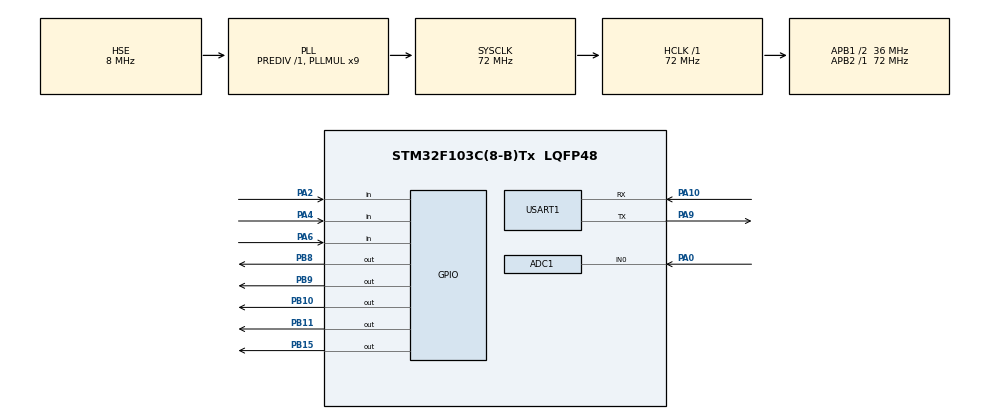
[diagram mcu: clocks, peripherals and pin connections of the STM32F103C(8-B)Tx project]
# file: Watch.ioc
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ADC1.Channel-0\#ChannelRegularConversion=ADC_CHANNEL_0
ADC1.NbrOfConversionFlag=1
ADC1.Rank-0\#ChannelRegularConversion=1
ADC1.SamplingTime-0\#ChannelRegularConversion=ADC_SAMPLETIME_1CYCLE_5
ADC1.master=1
FREERTOS.Tasks01=defaultTask,24,128,StartDefaultTask,Default,NULL,Dynamic,NULL,NULL
Mcu.Family=STM32F1
Mcu.Name=STM32F103C(8-B)Tx
Mcu.Package=LQFP48
NVIC.PriorityGroup=NVIC_PRIORITYGROUP_4
NVIC.TIM2_IRQn=true\:5\:0\:false\:false\:true\:true\:true\:true\:true
NVIC.TIM3_IRQn=true\:5\:0\:false\:false\:true\:true\:true\:true\:true
NVIC.TIM4_IRQn=true\:15\:0\:false\:false\:true\:false\:false\:true\:true
NVIC.TimeBase=TIM4_IRQn
NVIC.TimeBaseIP=TIM4
PA0-WKUP.Signal=ADCx_IN0
PA10.Mode=Asynchronous
PA10.Signal=USART1_RX
PA13.Mode=Serial_Wire
PA13.Signal=SYS_JTMS-SWDIO
PA14.Mode=Serial_Wire
PA14.Signal=SYS_JTCK-SWCLK
PA2.GPIO_PuPd=GPIO_PULLUP
PA2.Signal=GPIO_Input
PA4.GPIO_PuPd=GPIO_PULLUP
PA4.Signal=GPIO_Input
PA6.GPIO_PuPd=GPIO_PULLUP
PA6.Signal=GPIO_Input
PA9.Mode=Asynchronous
PA9.Signal=USART1_TX
PB10.GPIO_ModeDefaultOutputPP=GPIO_MODE_OUTPUT_OD
PB10.GPIO_PuPd=GPIO_NOPULL
PB10.Signal=GPIO_Output
PB11.GPIO_ModeDefaultOutputPP=GPIO_MODE_OUTPUT_OD
PB11.GPIO_PuPd=GPIO_NOPULL
PB11.Signal=GPIO_Output
PB15.GPIO_ModeDefaultOutputPP=GPIO_MODE_OUTPUT_PP
PB15.GPIO_Speed=GPIO_SPEED_FREQ_LOW
PB15.PinState=GPIO_PIN_SET
PB15.Signal=GPIO_Output
PB8.GPIO_ModeDefaultOutputPP=GPIO_MODE_OUTPUT_OD
PB8.GPIO_PuPd=GPIO_NOPULL
PB8.Signal=GPIO_Output
PB9.GPIO_ModeDefaultOutputPP=GPIO_MODE_OUTPUT_OD
PB9.GPIO_PuPd=GPIO_NOPULL
PB9.Signal=GPIO_Output
PD0-OSC_IN.Mode=HSE-External-Oscillator
PD0-OSC_IN.Signal=RCC_OSC_IN
PD1-OSC_OUT.Mode=HSE-External-Oscillator
PD1-OSC_OUT.Signal=RCC_OSC_OUT
ProjectManager.HeapSize=0x200
ProjectManager.StackSize=0x400
ProjectManager.TargetToolchain=MDK-ARM V5.32
RCC.ADCPresc=RCC_ADCPCLK2_DIV6
RCC.AHBFreq_Value=72000000
RCC.APB1CLKDivider=RCC_HCLK_DIV2
RCC.APB1Freq_Value=36000000
RCC.APB1TimFreq_Value=72000000
RCC.APB2Freq_Value=72000000
RCC.APB2TimFreq_Value=72000000
RCC.HCLKFreq_Value=72000000
RCC.PLLMUL=RCC_PLL_MUL9
RCC.PLLSourceVirtual=RCC_PLLSOURCE_HSE
RCC.RTCClockSelection=RCC_RTCCLKSOURCE_HSE_DIV128
RCC.SYSCLKFreq_VALUE=72000000
RCC.SYSCLKSource=RCC_SYSCLKSOURCE_PLLCLK
RCC.USBFreq_Value=72000000
SH.ADCx_IN0.0=ADC1_IN0,IN0
TIM2.Period=719
TIM2.Prescaler=99
TIM3.Period=9999
TIM3.Prescaler=7199
USART1.VirtualMode=VM_ASYNC
VP_FREERTOS_VS_CMSIS_V2.Mode=CMSIS_V2
VP_RTC_VS_RTC_Activate.Mode=RTC_Enabled
VP_RTC_VS_RTC_Calendar.Mode=RTC_Calendar
VP_SYS_VS_tim4.Mode=TIM4
VP_TIM2_VS_ClockSourceINT.Mode=Internal
VP_TIM3_VS_ClockSourceINT.Mode=Internal
board=custom

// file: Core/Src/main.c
/* USER CODE BEGIN Header */
/**
  ******************************************************************************
  * @file           : main.c
  * @brief          : Main program body
  ******************************************************************************
  * @attention
  *
  * Copyright (c) 2026 STMicroelectronics.
  * All rights reserved.
  *
  * This software is licensed under terms that can be found in the LICENSE file
  * in the root directory of this software component.
  * If no LICENSE file comes with this software, it is provided AS-IS.
  *
  ******************************************************************************
  */
/* USER CODE END Header */
#include "main.h"
#include "cmsis_os.h"
#include "adc.h"
#include "rtc.h"
#include "tim.h"
#include "usart.h"
#include "gpio.h"

/* USER CODE BEGIN Includes */
#include "Key.h"
#include "Dino.h"
/* USER CODE END Includes */

void SystemClock_Config(void);
void MX_FREERTOS_Init(void);

int main(void)
{

  /* MCU Configuration--------------------------------------------------------*/

  /* Reset of all peripherals, Initializes the Flash interface and the Systick. */
  HAL_Init();

  /* Configure the system clock */
  SystemClock_Config();

  /* Initialize all configured peripherals */
  MX_GPIO_Init();
  MX_ADC1_Init();
  MX_RTC_Init();
  MX_TIM2_Init();
  MX_TIM3_Init();
  MX_USART1_UART_Init();
  /* USER CODE BEGIN 2 */
  HAL_TIM_Base_Start_IT(&htim2);
  /* USER CODE END 2 */

  /* Init scheduler */
  osKernelInitialize();

  /* Call init function for freertos objects (in cmsis_os2.c) */
  MX_FREERTOS_Init();

  /* Start scheduler */
  osKernelStart();

  /* We should never get here as control is now taken by the scheduler */

  /* Infinite loop */
  while (1)
  {

  }
}

void SystemClock_Config(void)
{
  RCC_OscInitTypeDef RCC_OscInitStruct = {0};
  RCC_ClkInitTypeDef RCC_ClkInitStruct = {0};
  RCC_PeriphCLKInitTypeDef PeriphClkInit = {0};

  /** Initializes the RCC Oscillators according to the specified parameters
  * in the RCC_OscInitTypeDef structure.
  */
  RCC_OscInitStruct.OscillatorType = RCC_OSCILLATORTYPE_HSE;
  RCC_OscInitStruct.HSEState = RCC_HSE_ON;
  RCC_OscInitStruct.HSEPredivValue = RCC_HSE_PREDIV_DIV1;
  RCC_OscInitStruct.HSIState = RCC_HSI_ON;
  RCC_OscInitStruct.PLL.PLLState = RCC_PLL_ON;
  RCC_OscInitStruct.PLL.PLLSource = RCC_PLLSOURCE_HSE;
  RCC_OscInitStruct.PLL.PLLMUL = RCC_PLL_MUL9;
  if (HAL_RCC_OscConfig(&RCC_OscInitStruct) != HAL_OK)
  {
    Error_Handler();
  }

  /** Initializes the CPU, AHB and APB buses clocks
  */
  RCC_ClkInitStruct.ClockType = RCC_CLOCKTYPE_HCLK|RCC_CLOCKTYPE_SYSCLK
                              |RCC_CLOCKTYPE_PCLK1|RCC_CLOCKTYPE_PCLK2;
  RCC_ClkInitStruct.SYSCLKSource = RCC_SYSCLKSOURCE_PLLCLK;
  RCC_ClkInitStruct.AHBCLKDivider = RCC_SYSCLK_DIV1;
  RCC_ClkInitStruct.APB1CLKDivider = RCC_HCLK_DIV2;
  RCC_ClkInitStruct.APB2CLKDivider = RCC_HCLK_DIV1;

  if (HAL_RCC_ClockConfig(&RCC_ClkInitStruct, FLASH_LATENCY_2) != HAL_OK)
  {
    Error_Handler();
  }
  PeriphClkInit.PeriphClockSelection = RCC_PERIPHCLK_RTC|RCC_PERIPHCLK_ADC;
  PeriphClkInit.RTCClockSelection = RCC_RTCCLKSOURCE_HSE_DIV128;
  PeriphClkInit.AdcClockSelection = RCC_ADCPCLK2_DIV6;
  if (HAL_RCCEx_PeriphCLKConfig(&PeriphClkInit) != HAL_OK)
  {
    Error_Handler();
  }
}

void HAL_TIM_PeriodElapsedCallback(TIM_HandleTypeDef *htim)
{
  if (htim->Instance == TIM4) {
    HAL_IncTick();
  }
  /* USER CODE BEGIN Callback 1 */
  if (htim->Instance == TIM2)
  {
    Key3_Tick();   // 先更新 Key3 按住时间
    Key_Tick();    // 再每 20ms 采样一次
    Dino_Tick();   // 小恐龙游戏：1ms 时间基准
  }
  /* USER CODE END Callback 1 */
}

void Error_Handler(void)
{
  __disable_irq();
  while (1)
  {
  }
}

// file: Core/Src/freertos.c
/* USER CODE BEGIN Header */
/**
  ******************************************************************************
  * File Name          : freertos.c
  * Description        : Code for freertos applications
  ******************************************************************************
  * @attention
  *
  * Copyright (c) 2026 STMicroelectronics.
  * All rights reserved.
  *
  * This software is licensed under terms that can be found in the LICENSE file
  * in the root directory of this software component.
  * If no LICENSE file comes with this software, it is provided AS-IS.
  *
  ******************************************************************************
  */
/* USER CODE END Header */

#include "FreeRTOS.h"
#include "task.h"
#include "main.h"
#include "cmsis_os.h"

/* USER CODE BEGIN Includes */
#include "usart.h"
#include "OLED.h"
#include "Key.h"
#include "rtc.h"
#include "MyI2C.h"
#include "MPU6050.h"
#include <stdio.h>
#include <string.h>
#include <math.h>
#include "Dino.h"
#include "MenuIcon.h"

/* USER CODE END Includes */

/* USER CODE BEGIN Variables */
osThreadId_t menuTaskHandle;
const osThreadAttr_t menuTask_attributes = {
  .name = "menuTask",
  .stack_size = 128 * 4,          // 512 字节
  .priority = (osPriority_t) osPriorityNormal,
};

osThreadId_t stopWatchTaskHandle;
const osThreadAttr_t stopWatchTask_attributes = {
  .name = "stopWatchTask",
  .stack_size = 128 * 4,
  .priority = (osPriority_t) osPriorityNormal,
};

osThreadId_t mpuTaskHandle;
const osThreadAttr_t mpuTask_attributes = {
  .name = "mpuTask",
  .stack_size = 256 * 4,          // 1024 字节：浮点运算 + OLED 调用更深
  .priority = (osPriority_t) osPriorityNormal,
};

osThreadId_t gradienterTaskHandle;
const osThreadAttr_t gradienterTask_attributes = {
  .name = "gradienterTask",
  .stack_size = 256 * 4,          // 1024 字节
  .priority = (osPriority_t) osPriorityNormal,
};

/* USER CODE END Variables */
/* Definitions for defaultTask */
osThreadId_t defaultTaskHandle;
const osThreadAttr_t defaultTask_attributes = {
  .name = "defaultTask",
  .stack_size = 128 * 4,
  .priority = (osPriority_t) osPriorityNormal,
};

osThreadId_t setTimeTaskHandle;
const osThreadAttr_t setTimeTask_attributes = {
  .name = "setTimeTask",
  .stack_size = 128 * 4,          // 512 字节
  .priority = (osPriority_t) osPriorityNormal,
};

osThreadId_t emojiTaskHandle;
const osThreadAttr_t emojiTask_attributes = {
  .name = "emojiTask",
  .stack_size = 256 * 4,          // 1024 字节：画弧线会用到 atan2 数学库
  .priority = (osPriority_t) osPriorityNormal,
};

osThreadId_t gameTaskHandle;
const osThreadAttr_t gameTask_attributes = {
  .name = "gameTask",
  .stack_size = 256 * 4,          // 1024 字节
  .priority = (osPriority_t) osPriorityNormal,
};

/* USER CODE BEGIN FunctionPrototypes */
void StartMenuTask(void *argument);
void StartStopWatchTask(void *argument);
void StartMpuTask(void *argument);
void StartGradienterTask(void *argument);
void StartSetTimeTask(void *argument);
void StartEmojiTask(void *argument);
void StartGameTask(void *argument);

/* USER CODE END FunctionPrototypes */

void StartDefaultTask(void *argument);

void MX_FREERTOS_Init(void); /* (MISRA C 2004 rule 8.1) */

void MX_FREERTOS_Init(void) {

  /* Create the thread(s) */
  /* creation of defaultTask */
  defaultTaskHandle = osThreadNew(StartDefaultTask, NULL, &defaultTask_attributes);

  /* USER CODE BEGIN RTOS_THREADS */
  menuTaskHandle = osThreadNew(StartMenuTask, NULL, &menuTask_attributes);
  stopWatchTaskHandle = osThreadNew(StartStopWatchTask, NULL, &stopWatchTask_attributes);
  mpuTaskHandle = osThreadNew(StartMpuTask, NULL, &mpuTask_attributes);
  gradienterTaskHandle = osThreadNew(StartGradienterTask, NULL, &gradienterTask_attributes);
  setTimeTaskHandle = osThreadNew(StartSetTimeTask, NULL, &setTimeTask_attributes);
  emojiTaskHandle = osThreadNew(StartEmojiTask, NULL, &emojiTask_attributes);
  gameTaskHandle = osThreadNew(StartGameTask, NULL, &gameTask_attributes);

  /* add threads, ... */
  /* USER CODE END RTOS_THREADS */

}

void StartDefaultTask(void *argument)
{
  /* USER CODE BEGIN StartDefaultTask */
  RTC_TimeTypeDef sTime;
  RTC_DateTypeDef sDate;
  uint8_t last_sec = 0xFF;

  OLED_Init();
  MPU6050_Init();          // 初始化只做一次，放循环外
  OLED_Clear();
  OLED_Update();

  for(;;)
  {
    uint8_t key = Key_GetNum();

    if (key == 3)                    // Key3：进入菜单
    {
      osThreadResume(menuTaskHandle);
      osThreadSuspend(osThreadGetId());

      OLED_Clear();
      last_sec = 0xFF;
    }

    HAL_RTC_GetTime(&hrtc, &sTime, RTC_FORMAT_BIN);
    HAL_RTC_GetDate(&hrtc, &sDate, RTC_FORMAT_BIN);

    if (sTime.Seconds != last_sec)
    {
      last_sec = sTime.Seconds;

      /* 日期行：20YY-MM-DD（6×8 字体） */
      OLED_ShowString(34, 0, "20", OLED_6X8);
      OLED_ShowNum(46, 0, sDate.Year, 2, OLED_6X8);
      OLED_ShowString(58, 0, "-", OLED_6X8);
      OLED_ShowNum(64, 0, sDate.Month, 2, OLED_6X8);
      OLED_ShowString(76, 0, "-", OLED_6X8);
      OLED_ShowNum(82, 0, sDate.Date, 2, OLED_6X8);

      /* 时间行：HH:MM:SS（12×24 大字体） */
      OLED_ShowNum(16, 16, sTime.Hours, 2, OLED_12X24);
      OLED_ShowString(40, 16, ":", OLED_12X24);
      OLED_ShowNum(52, 16, sTime.Minutes, 2, OLED_12X24);
      OLED_ShowString(76, 16, ":", OLED_12X24);
      OLED_ShowNum(88, 16, sTime.Seconds, 2, OLED_12X24);

      OLED_ShowString(40, 52, "K3: menu", OLED_6X8);
      OLED_Update();
    }

    osDelay(100);
  }
  /* USER CODE END StartDefaultTask */
}

/* USER CODE BEGIN Application */
#define MENU_COUNT  8

static uint8_t menuIndex = 0;     // 当前选中项 0~7

/* 循环取图标下标：支持 -1、8 这样的越界值 */
static uint8_t Menu_Wrap(int8_t index)
{
  while (index < 0) index += MENU_COUNT;
  while (index >= MENU_COUNT) index -= MENU_COUNT;
  return (uint8_t)index;
}

/* 按滑动偏移画一帧：x_pre=48 为静止位置 */
static void Menu_Draw(uint8_t x_pre, uint8_t index)
{
  OLED_Clear();

  /* 选中框固定不动 */
  OLED_ShowImage(42, 10, 44, 48, Menu_Frame);

  /* 左、中、右、右二，四个图标跟着 x_pre 移动 */
  OLED_ShowImage((int16_t)x_pre - 48, 16, 32, 32, Menu_Graph[Menu_Wrap(index - 1)]);
  OLED_ShowImage((int16_t)x_pre,      16, 32, 32, Menu_Graph[Menu_Wrap(index)]);
  OLED_ShowImage((int16_t)x_pre + 48, 16, 32, 32, Menu_Graph[Menu_Wrap(index + 1)]);
  OLED_ShowImage((int16_t)x_pre + 96, 16, 32, 32, Menu_Graph[Menu_Wrap(index + 2)]);

  OLED_Update();
}

/* 切换动画：dir=+1 下一项（左移），dir=-1 上一项（右移） */
static void Menu_Animate(int8_t dir)
{
  uint8_t target = Menu_Wrap(menuIndex + dir);
  uint8_t x = 48;

  while (1)
  {
    if (dir > 0)
    {
      if (x >= 8) x -= 8;
      else x = 0;
    }
    else
    {
      x += 8;
      if (x > 96) x = 96;
    }

    Menu_Draw(x, menuIndex);
    osDelay(8);

    if ((dir > 0 && x == 0) || (dir < 0 && x == 96)) break;
  }

  menuIndex = target;
  Menu_Draw(48, menuIndex);
}

void StartMenuTask(void *argument)
{
  uint8_t key;

  /* 创建后先挂起，等时钟任务用 Key3 唤醒 */
  osThreadSuspend(osThreadGetId());

  for(;;)
  {
    Menu_Draw(48, menuIndex);

    /* 等待按键 */
    do
    {
      key = Key_GetNum();
      osDelay(20);
    } while (key == 0);

    if (key == 1)                       // Key1：上一项
    {
      Menu_Animate(-1);
    }
    else if (key == 2)                  // Key2：下一项
    {
      Menu_Animate(1);
    }
    else if (key == 3 || key == 4)      // Key3：确认；长按：回主页
    {
      if (key == 4 || menuIndex == 0)   // 长按 或 选中 Clock
      {
        osThreadResume(defaultTaskHandle);
        osThreadSuspend(osThreadGetId());
      }
      else if (menuIndex == 1)          // Stopwatch
      {
        osThreadResume(stopWatchTaskHandle);
        osThreadSuspend(osThreadGetId());
      }
      else if (menuIndex == 2)          // Flashlight（无独立任务，内层循环）
      {
        uint8_t led_on;

        led_on = (HAL_GPIO_ReadPin(GPIOB, GPIO_PIN_15) == GPIO_PIN_RESET);

        for (;;)
        {
          OLED_Clear();
          OLED_ShowString(34, 0, "Flashlight", OLED_6X8);
          if (led_on) OLED_ShowString(56, 24, "ON", OLED_8X16);
          else        OLED_ShowString(52, 24, "OFF", OLED_8X16);
          OLED_ShowString(34, 44, "K1: toggle", OLED_6X8);
          OLED_ShowString(40, 54, "K3: back", OLED_6X8);
          OLED_Update();

          do
          {
            key = Key_GetNum();
            osDelay(20);
          } while (key == 0);

          if (key == 1)
          {
            led_on = !led_on;
            HAL_GPIO_WritePin(GPIOB, GPIO_PIN_15,
                              led_on ? GPIO_PIN_RESET : GPIO_PIN_SET);
          }
          else if (key == 3)
          {
            break;
          }
          else if (key == 4)
          {
            osThreadResume(defaultTaskHandle);
            osThreadSuspend(osThreadGetId());
            break;
          }
        }
      }
      else if (menuIndex == 3)          // MPU6050
      {
        osThreadResume(mpuTaskHandle);
        osThreadSuspend(osThreadGetId());
      }
      else if (menuIndex == 4)          // Game
      {
        osThreadResume(gameTaskHandle);
        osThreadSuspend(osThreadGetId());
      }
      else if (menuIndex == 5)          // Emoji
      {
        osThreadResume(emojiTaskHandle);
        osThreadSuspend(osThreadGetId());
      }
      else if (menuIndex == 6)          // Gradienter
      {
        osThreadResume(gradienterTaskHandle);
        osThreadSuspend(osThreadGetId());
      }
      else if (menuIndex == 7)          // Set Time
      {
        osThreadResume(setTimeTaskHandle);
        osThreadSuspend(osThreadGetId());
      }
    }
  }
}

static void StopWatch_Draw(uint32_t total_ms)
{
  /* 体育秒表格式：MM:SS.CC（分:秒.百分秒） */
  OLED_ShowNum(32, 16, (total_ms / 60000) % 100, 2, OLED_8X16);   // 分
  OLED_ShowString(48, 16, ":", OLED_8X16);
  OLED_ShowNum(56, 16, (total_ms / 1000) % 60, 2, OLED_8X16);     // 秒
  OLED_ShowString(72, 16, ".", OLED_8X16);
  OLED_ShowNum(80, 16, (total_ms / 10) % 100, 2, OLED_8X16);      // 百分秒
}

void StartStopWatchTask(void *argument)
{
  uint32_t elapsed_ms = 0;      // 已累计的毫秒
  uint32_t start_tick = 0;      // 本次启动的时刻
  uint32_t total;
  uint32_t shown_centi = 0xFFFFFFFF;
  uint8_t running = 0;
  uint8_t need_redraw = 1;

  osThreadSuspend(osThreadGetId());   // 创建后先挂起

  for(;;)
  {
    uint8_t key = Key_GetNum();

    if (key == 1)                       // Key1：开始 / 暂停
    {
      if (running)
      {
        elapsed_ms += osKernelGetTickCount() - start_tick;
        running = 0;
      }
      else
      {
        start_tick = osKernelGetTickCount();
        running = 1;
      }
      need_redraw = 1;
    }
    else if (key == 2)                  // Key2：复位
    {
      elapsed_ms = 0;
      running = 0;
      need_redraw = 1;
    }
    else if (key == 3)                  // Key3：返回菜单（后台继续计时）
    {
      osThreadResume(menuTaskHandle);
      osThreadSuspend(osThreadGetId());
      need_redraw = 1;
    }
    else if (key == 4)                  // 长按 Key3：回主页（后台继续计时）
    {
      osThreadResume(defaultTaskHandle);
      osThreadSuspend(osThreadGetId());
      need_redraw = 1;
    }

    total = elapsed_ms + (running ? (osKernelGetTickCount() - start_tick) : 0);

    if (need_redraw)
    {
      OLED_Clear();
      OLED_ShowString(37, 0, "Stopwatch", OLED_6X8);
      OLED_ShowString(0, 38, "K1 Start/Stop", OLED_6X8);
      OLED_ShowString(0, 46, "K2 Reset", OLED_6X8);
      OLED_ShowString(0, 54, "K3 Back", OLED_6X8);
      StopWatch_Draw(total);
      OLED_Update();
      need_redraw = 0;
      shown_centi = total / 10;
    }
    else if (running && (total / 10) != shown_centi)
    {
      StopWatch_Draw(total);
      OLED_UpdateArea(32, 16, 64, 16);   // 只刷新时间行，节省 I2C
      shown_centi = total / 10;
    }

    osDelay(20);
  }
}

void StartMpuTask(void *argument)
{
  float roll, pitch;
  int32_t roll_i, pitch_i;
  int32_t last_roll = 9999, last_pitch = 9999;
  uint8_t need_redraw = 1;

  osThreadSuspend(osThreadGetId());   // 创建后先挂起

  for(;;)
  {
    uint8_t key = Key_GetNum();

    if (key == 3)                     // 返回菜单
    {
      osThreadResume(menuTaskHandle);
      osThreadSuspend(osThreadGetId());
      need_redraw = 1;
    }
    else if (key == 4)                // 长按：回主页
    {
      osThreadResume(defaultTaskHandle);
      osThreadSuspend(osThreadGetId());
      need_redraw = 1;
    }

    MPU6050_GetAngles(&roll, &pitch);
    roll_i  = (int32_t)roll;
    pitch_i = (int32_t)pitch;

    /* 进入页面或角度变化时才重画，避免无意义的 I2C 传输 */
    if (need_redraw || roll_i != last_roll || pitch_i != last_pitch)
    {
      if (need_redraw)
      {
        OLED_Clear();
        OLED_ShowString(0, 0, "Roll:", OLED_8X16);
        OLED_ShowString(0, 20, "Pitch:", OLED_8X16);
        OLED_ShowString(0, 44, "K3: back", OLED_6X8);
        OLED_ShowString(0, 54, "Hold K3: home", OLED_6X8);
        need_redraw = 0;
      }

      OLED_ShowSignedNum(48, 0, roll_i, 2, OLED_8X16);    // 符号 + 2 位数字
      OLED_ShowSignedNum(56, 20, pitch_i, 2, OLED_8X16);
      OLED_Update();

      last_roll = roll_i;
      last_pitch = pitch_i;
    }

    osDelay(50);                      // 20Hz 刷新
  }
}

void StartGradienterTask(void *argument)
{
  float roll, pitch;
  float dx, dy, dist;
  int16_t bx, by;

  osThreadSuspend(osThreadGetId());   // 创建后先挂起

  for(;;)
  {
    uint8_t key = Key_GetNum();

    if (key == 3)                     // 返回菜单
    {
      osThreadResume(menuTaskHandle);
      osThreadSuspend(osThreadGetId());
    }
    else if (key == 4)                // 长按：回主页
    {
      osThreadResume(defaultTaskHandle);
      osThreadSuspend(osThreadGetId());
    }

    MPU6050_GetAngles(&roll, &pitch);

    /* 角度 → 像素偏移：右倾球向右，前倾球向下 */
    dx = roll;
    dy = pitch;

    /* 限制在圆内：偏移向量太长时等比例缩小 */
    dist = sqrtf(dx * dx + dy * dy);
    if (dist > 26.0f)
    {
      dx = dx * 26.0f / dist;
      dy = dy * 26.0f / dist;
    }

    bx = (int16_t)(64 + dx);
    by = (int16_t)(32 + dy);

    /* 每帧重画：清屏 → 外圆 → 填充小球 → 刷屏 */
    OLED_Clear();
    OLED_DrawCircle(64, 32, 30, OLED_UNFILLED);
    OLED_DrawCircle(bx, by, 4, OLED_FILLED);
    OLED_Update();

    osDelay(50);                      // 20Hz
  }
}

static uint8_t SetTime_MaxDay(uint8_t year, uint8_t month)
{
  static const uint8_t days[12] = {31,28,31,30,31,30,31,31,30,31,30,31};
  uint8_t d = days[month - 1];

  if (month == 2 && (year % 4) == 0)   // 2000~2099 内能被4整除就是闰年
  {
    d = 29;
  }
  return d;
}

static void SetTime_Draw(uint8_t field,
                         uint8_t year, uint8_t month, uint8_t day,
                         uint8_t hour, uint8_t minute, uint8_t second)
{
  OLED_Clear();

  /* 日期行：20YY-MM-DD */
  OLED_ShowString(24, 0, "20", OLED_8X16);
  OLED_ShowNum(40, 0, year, 2, OLED_8X16);
  OLED_ShowString(56, 0, "-", OLED_8X16);
  OLED_ShowNum(64, 0, month, 2, OLED_8X16);
  OLED_ShowString(80, 0, "-", OLED_8X16);
  OLED_ShowNum(88, 0, day, 2, OLED_8X16);

  /* 时间行：HH:MM:SS */
  OLED_ShowNum(32, 20, hour, 2, OLED_8X16);
  OLED_ShowString(48, 20, ":", OLED_8X16);
  OLED_ShowNum(56, 20, minute, 2, OLED_8X16);
  OLED_ShowString(72, 20, ":", OLED_8X16);
  OLED_ShowNum(80, 20, second, 2, OLED_8X16);

  /* 当前字段反色 */
  if (field == 0)      OLED_ReverseArea(40, 0, 16, 16);
  else if (field == 1) OLED_ReverseArea(64, 0, 16, 16);
  else if (field == 2) OLED_ReverseArea(88, 0, 16, 16);
  else if (field == 3) OLED_ReverseArea(32, 20, 16, 16);
  else if (field == 4) OLED_ReverseArea(56, 20, 16, 16);
  else                 OLED_ReverseArea(80, 20, 16, 16);

  OLED_ShowString(0, 44, "K1:field  K2:+1", OLED_6X8);
  OLED_ShowString(0, 54, "K3: save", OLED_6X8);
  OLED_Update();
}

static void SetTime_Save(uint8_t year, uint8_t month, uint8_t day,
                         uint8_t hour, uint8_t minute, uint8_t second)
{
  RTC_TimeTypeDef sTime = {0};
  RTC_DateTypeDef sDate = {0};
  RTC_DateTypeDef nowDate;

  HAL_RTC_GetDate(&hrtc, &nowDate, RTC_FORMAT_BIN);  // 取出当前 WeekDay

  sTime.Hours   = hour;
  sTime.Minutes = minute;
  sTime.Seconds = second;
  HAL_RTC_SetTime(&hrtc, &sTime, RTC_FORMAT_BIN);

  sDate.Year    = year;
  sDate.Month   = month;
  sDate.Date    = day;
  sDate.WeekDay = nowDate.WeekDay;                   // 星期几不显示，沿用原来的
  HAL_RTC_SetDate(&hrtc, &sDate, RTC_FORMAT_BIN);
}

void StartSetTimeTask(void *argument)
{
  uint8_t field;
  uint8_t year, month, day, hour, minute, second;
  uint8_t key;
  RTC_TimeTypeDef sTime;
  RTC_DateTypeDef sDate;

  osThreadSuspend(osThreadGetId());   // 创建后先挂起

  for(;;)
  {
    /* 每次进入页面，先读 RTC 的当前值作为编辑初值 */
    HAL_RTC_GetTime(&hrtc, &sTime, RTC_FORMAT_BIN);
    HAL_RTC_GetDate(&hrtc, &sDate, RTC_FORMAT_BIN);

    year   = sDate.Year;
    month  = sDate.Month;
    day    = sDate.Date;
    hour   = sTime.Hours;
    minute = sTime.Minutes;
    second = sTime.Seconds;
    field  = 0;

    for(;;)
    {
      SetTime_Draw(field, year, month, day, hour, minute, second);

      do
      {
        key = Key_GetNum();
        osDelay(20);
      } while (key == 0);

      if (key == 1)                       // 切换字段
      {
        field++;
        if (field >= 6) field = 0;
      }
      else if (key == 2)                  // 当前字段 +1
      {
        if (field == 0)
        {
          year++;
          if (year >= 100) year = 0;
        }
        else if (field == 1)
        {
          month++;
          if (month > 12) month = 1;
        }
        else if (field == 2)
        {
          day++;
          if (day > SetTime_MaxDay(year, month)) day = 1;
        }
        else if (field == 3)
        {
          hour++;
          if (hour > 23) hour = 0;
        }
        else if (field == 4)
        {
          minute++;
          if (minute > 59) minute = 0;
        }
        else
        {
          second++;
          if (second > 59) second = 0;
        }

        /* 改了年份或月份后，原来的“日”可能超过当月最大天数 */
        if (day > SetTime_MaxDay(year, month))
        {
          day = SetTime_MaxDay(year, month);
        }
      }
      else if (key == 3)                  // 保存并回菜单
      {
        SetTime_Save(year, month, day, hour, minute, second);
        osThreadResume(menuTaskHandle);
        osThreadSuspend(osThreadGetId());
        break;
      }
      else if (key == 4)                  // 保存并回主页
      {
        SetTime_Save(year, month, day, hour, minute, second);
        osThreadResume(defaultTaskHandle);
        osThreadSuspend(osThreadGetId());
        break;
      }
    }
  }
}

void StartEmojiTask(void *argument)
{
  uint8_t count = 0;
  uint8_t blink;

  osThreadSuspend(osThreadGetId());   // 创建后先挂起

  for(;;)
  {
    uint8_t key = Key_GetNum();

    if (key == 3)                     // 返回菜单
    {
      osThreadResume(menuTaskHandle);
      osThreadSuspend(osThreadGetId());
      count = 0;
    }
    else if (key == 4)                // 长按：回主页
    {
      osThreadResume(defaultTaskHandle);
      osThreadSuspend(osThreadGetId());
      count = 0;
    }

    /* 2 秒一个眨眼周期，最后 0.2 秒闭眼 */
    count++;
    if (count >= 20) count = 0;
    blink = (count >= 18);

    OLED_Clear();

    /* 脸 */
    OLED_DrawCircle(64, 32, 30, OLED_UNFILLED);

    /* 眼睛：睁眼画填充圆，闭眼画横线 */
    if (blink)
    {
      OLED_DrawLine(42, 26, 54, 26);
      OLED_DrawLine(74, 26, 86, 26);
    }
    else
    {
      OLED_DrawCircle(48, 26, 5, OLED_FILLED);
      OLED_DrawCircle(80, 26, 5, OLED_FILLED);
    }

    /* 嘴巴：圆心(64,40)，半径14，20°~160° 的下半圆弧 = 微笑 */
    OLED_DrawArc(64, 40, 14, 20, 160, OLED_UNFILLED);

    OLED_Update();
    osDelay(100);                     // 10fps
  }
}

void StartGameTask(void *argument)
{
  int result;

  osThreadSuspend(osThreadGetId());

  for (;;)
  {
    DinoGame_Pos_Init();
    result = DinoGame_Animation();

    if (result == 2)                  // 长按 Key3：回主页
    {
      osThreadResume(defaultTaskHandle);
      osThreadSuspend(osThreadGetId());
    }
    else                              // 碰撞结束或短按 Key3：回菜单
    {
      osThreadResume(menuTaskHandle);
      osThreadSuspend(osThreadGetId());
    }
  }
}

/* USER CODE END Application */
